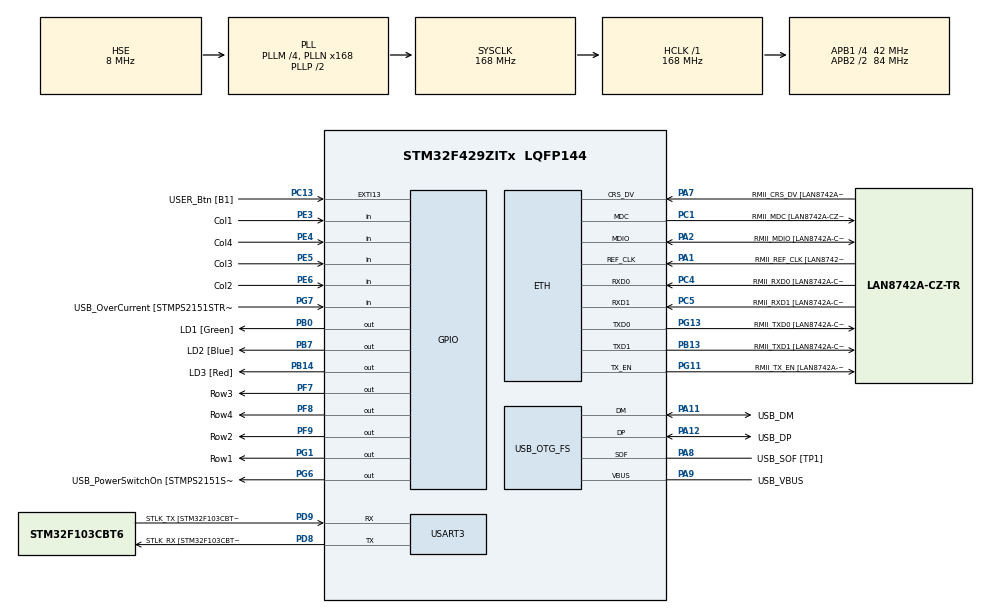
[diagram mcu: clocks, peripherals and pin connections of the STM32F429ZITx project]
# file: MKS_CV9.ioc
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ETH.MediaInterface=HAL_ETH_RMII_MODE
ETH.PHY_Name=LAN8742A_PHY_ADDRESS
ETH.PHY_Value=0
ETH.PhyAddress=0
Mcu.Family=STM32F4
Mcu.Name=STM32F429ZITx
Mcu.Package=LQFP144
NVIC.PriorityGroup=NVIC_PRIORITYGROUP_4
NVIC.TIM3_IRQn=true\:0\:0\:false\:false\:true\:true\:true\:true
PA1.GPIO_Label=RMII_REF_CLK [LAN8742A-CZ-TR_REFCLK0]
PA1.Mode=RMII
PA1.Signal=ETH_REF_CLK
PA10.GPIO_Label=USB_ID
PA10.Signal=USB_OTG_FS_ID
PA11.GPIO_Label=USB_DM
PA11.Mode=Device_Only
PA11.Signal=USB_OTG_FS_DM
PA12.GPIO_Label=USB_DP
PA12.Mode=Device_Only
PA12.Signal=USB_OTG_FS_DP
PA13.GPIO_Label=TMS
PA13.Mode=Serial_Wire
PA13.Signal=SYS_JTMS-SWDIO
PA14.GPIO_Label=TCK
PA14.Mode=Serial_Wire
PA14.Signal=SYS_JTCK-SWCLK
PA2.GPIO_Label=RMII_MDIO [LAN8742A-CZ-TR_MDIO]
PA2.Mode=RMII
PA2.Signal=ETH_MDIO
PA7.GPIO_Label=RMII_CRS_DV [LAN8742A-CZ-TR_CRS_DV]
PA7.Mode=RMII
PA7.Signal=ETH_CRS_DV
PA8.GPIO_Label=USB_SOF [TP1]
PA8.Mode=Activate_SOF_FS
PA8.Signal=USB_OTG_FS_SOF
PA9.GPIO_Label=USB_VBUS
PA9.Mode=Activate_VBUS
PA9.Signal=USB_OTG_FS_VBUS
PB0.GPIO_Label=LD1 [Green]
PB0.Signal=GPIO_Output
PB13.GPIO_Label=RMII_TXD1 [LAN8742A-CZ-TR_TXD1]
PB13.Mode=RMII
PB13.Signal=ETH_TXD1
PB14.GPIO_Label=LD3 [Red]
PB14.Signal=GPIO_Output
PB7.GPIO_Label=LD2 [Blue]
PB7.Signal=GPIO_Output
PC1.GPIO_Label=RMII_MDC [LAN8742A-CZ-TR_MDC]
PC1.Mode=RMII
PC1.Signal=ETH_MDC
PC13.GPIO_Label=USER_Btn [B1]
PC13.Signal=GPXTI13
PC14/OSC32_IN.Mode=LSE-External-Oscillator
PC14/OSC32_IN.Signal=RCC_OSC32_IN
PC15/OSC32_OUT.Mode=LSE-External-Oscillator
PC15/OSC32_OUT.Signal=RCC_OSC32_OUT
PC4.GPIO_Label=RMII_RXD0 [LAN8742A-CZ-TR_RXD0]
PC4.Mode=RMII
PC4.Signal=ETH_RXD0
PC5.GPIO_Label=RMII_RXD1 [LAN8742A-CZ-TR_RXD1]
PC5.Mode=RMII
PC5.Signal=ETH_RXD1
PD8.GPIO_Label=STLK_RX [STM32F103CBT6_PA3]
PD8.Mode=Asynchronous
PD8.Signal=USART3_TX
PD9.GPIO_Label=STLK_TX [STM32F103CBT6_PA2]
PD9.Mode=Asynchronous
PD9.Signal=USART3_RX
PE3.GPIO_Label=Col1
PE3.GPIO_PuPd=GPIO_PULLUP
PE3.Signal=GPIO_Input
PE4.GPIO_Label=Col4
PE4.GPIO_PuPd=GPIO_PULLUP
PE4.Signal=GPIO_Input
PE5.GPIO_Label=Col3
PE5.GPIO_PuPd=GPIO_PULLUP
PE5.Signal=GPIO_Input
PE6.GPIO_Label=Col2
PE6.GPIO_PuPd=GPIO_PULLUP
PE6.Signal=GPIO_Input
PF7.GPIO_Label=Row3
PF7.GPIO_ModeDefaultOutputPP=GPIO_MODE_OUTPUT_OD
PF7.GPIO_PuPd=GPIO_NOPULL
PF7.Signal=GPIO_Output
PF8.GPIO_Label=Row4
PF8.GPIO_ModeDefaultOutputPP=GPIO_MODE_OUTPUT_OD
PF8.GPIO_PuPd=GPIO_NOPULL
PF8.Signal=GPIO_Output
PF9.GPIO_Label=Row2
PF9.GPIO_ModeDefaultOutputPP=GPIO_MODE_OUTPUT_OD
PF9.GPIO_PuPd=GPIO_NOPULL
PF9.Signal=GPIO_Output
PG1.GPIO_Label=Row1
PG1.GPIO_ModeDefaultOutputPP=GPIO_MODE_OUTPUT_OD
PG1.GPIO_PuPd=GPIO_NOPULL
PG1.Signal=GPIO_Output
PG11.GPIO_Label=RMII_TX_EN [LAN8742A-CZ-TR_TXEN]
PG11.Mode=RMII
PG11.Signal=ETH_TX_EN
PG13.GPIO_Label=RMII_TXD0 [LAN8742A-CZ-TR_TXD0]
PG13.Mode=RMII
PG13.Signal=ETH_TXD0
PG6.GPIO_Label=USB_PowerSwitchOn [STMPS2151STR_EN]
PG6.Signal=GPIO_Output
PG7.GPIO_Label=USB_OverCurrent [STMPS2151STR_FAULT]
PG7.Signal=GPIO_Input
PH0/OSC_IN.GPIO_Label=MCO [STM32F103CBT6_PA8]
PH0/OSC_IN.Mode=HSE-External-Clock-Source
PH0/OSC_IN.Signal=RCC_OSC_IN
PH1/OSC_OUT.Mode=HSE-External-Clock-Source
PH1/OSC_OUT.Signal=RCC_OSC_OUT
ProjectManager.HeapSize=0x200
ProjectManager.StackSize=0x400
ProjectManager.TargetToolchain=STM32CubeIDE
RCC.48MHZClocksFreq_Value=48000000
RCC.AHBFreq_Value=168000000
RCC.APB1CLKDivider=RCC_HCLK_DIV4
RCC.APB1Freq_Value=42000000
RCC.APB1TimFreq_Value=84000000
RCC.APB2CLKDivider=RCC_HCLK_DIV2
RCC.APB2Freq_Value=84000000
RCC.APB2TimCLKDivider=2
RCC.APB2TimFreq_Value=168000000
RCC.CortexFreq_Value=168000000
RCC.HCLKFreq_Value=168000000
RCC.HSE_VALUE=8000000
RCC.HSI_VALUE=16000000
RCC.PLLM=4
RCC.PLLMUL=RCC_PLL_MUL9
RCC.PLLN=168
RCC.PLLQ=7
RCC.PRESCALERUSB=RCC_USBCLKSOURCE_PLL_DIV1_5
RCC.SYSCLKFreq_VALUE=168000000
RCC.SYSCLKSource=RCC_SYSCLKSOURCE_PLLCLK
RCC.SYSCLKSourceVirtual=RCC_SYSCLKSOURCE_PLLCLK
RCC.USBFreq_Value=48000000
RCC.VCOOutputFreq_Value=336000000
TIM3.AutoReloadPreload=TIM_AUTORELOAD_PRELOAD_ENABLE
TIM3.Period=99
TIM3.Prescaler=8399
USART3.VirtualMode=VM_ASYNC
USB_OTG_FS.VirtualMode=Device_Only
VP_TIM3_VS_ClockSourceINT.Mode=Internal
board=NUCLEO-F429ZI

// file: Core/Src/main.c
/* USER CODE BEGIN Header */
/**
 ******************************************************************************
 * @file           : main.c
 * @brief          : Main program body
 ******************************************************************************
 * @attention
 *
 * Copyright (c) 2022 STMicroelectronics.
 * All rights reserved.
 *
 * This software is licensed under terms that can be found in the LICENSE file
 * in the root directory of this software component.
 * If no LICENSE file comes with this software, it is provided AS-IS.
 *
 ******************************************************************************
 */
/* USER CODE END Header */
#include "main.h"
#include "string.h"

/* USER CODE BEGIN Includes */
#include <stdio.h>
/* USER CODE END Includes */

ETH_TxPacketConfig TxConfig;
ETH_DMADescTypeDef DMARxDscrTab[ETH_RX_DESC_CNT]; /* Ethernet Rx DMA Descriptors */
ETH_DMADescTypeDef DMATxDscrTab[ETH_TX_DESC_CNT]; /* Ethernet Tx DMA Descriptors */

ETH_HandleTypeDef heth;

TIM_HandleTypeDef htim3;

UART_HandleTypeDef huart3;

PCD_HandleTypeDef hpcd_USB_OTG_FS;

/* USER CODE BEGIN PV */
static volatile int8_t key = -1;
static volatile uint8_t tog;
static volatile uint8_t tog_active;
static volatile uint8_t check = 0;
static const int password[1][5] = { { 7, 9, 3, 2, 12 } };
static uint32_t timeout;
static uint8_t timeout_not_set;

/* USER CODE END PV */

void SystemClock_Config(void);
static void MX_GPIO_Init(void);
static void MX_ETH_Init(void);
static void MX_USART3_UART_Init(void);
static void MX_USB_OTG_FS_PCD_Init(void);
static void MX_TIM3_Init(void);

/* USER CODE BEGIN 0 */
int __io_putchar(int ch) {
	ITM_SendChar(ch);
	return 0;
}

void HAL_TIM_PeriodElapsedCallback(TIM_HandleTypeDef *htim) {

	static int row = 0;

	static const int keyboard[4][4] = { { 1, 2, 3, 21 }, { 4, 5, 6, 22 }, { 7,
			8, 9, 23 }, { 11, 0, 12, 24 }, };
	if (key == -1) {
		if (HAL_GPIO_ReadPin(Col1_GPIO_Port, Col1_Pin) == GPIO_PIN_RESET)
			key = keyboard[row][0];
		if (HAL_GPIO_ReadPin(Col2_GPIO_Port, Col2_Pin) == GPIO_PIN_RESET)
			key = keyboard[row][1];
		if (HAL_GPIO_ReadPin(Col3_GPIO_Port, Col3_Pin) == GPIO_PIN_RESET)
			key = keyboard[row][2];
		if (HAL_GPIO_ReadPin(Col4_GPIO_Port, Col4_Pin) == GPIO_PIN_RESET)
			key = keyboard[row][3];

	}
	HAL_GPIO_WritePin(Row1_GPIO_Port, Row1_Pin, GPIO_PIN_SET);
	HAL_GPIO_WritePin(Row2_GPIO_Port, Row2_Pin, GPIO_PIN_SET);
	HAL_GPIO_WritePin(Row3_GPIO_Port, Row3_Pin, GPIO_PIN_SET);
	HAL_GPIO_WritePin(Row4_GPIO_Port, Row4_Pin, GPIO_PIN_SET);
	switch (row) {
	case 0:
		row = 1;
		HAL_GPIO_WritePin(Row2_GPIO_Port, Row2_Pin, GPIO_PIN_RESET);
		break;
	case 1:
		row = 2;
		HAL_GPIO_WritePin(Row3_GPIO_Port, Row3_Pin, GPIO_PIN_RESET);
		break;
	case 2:
		row = 3;
		HAL_GPIO_WritePin(Row4_GPIO_Port, Row4_Pin, GPIO_PIN_RESET);
		break;
	case 3:
		row = 0;
		HAL_GPIO_WritePin(Row1_GPIO_Port, Row1_Pin, GPIO_PIN_RESET);
		break;

	}
}

/* USER CODE END 0 */

int main(void) {

	/* MCU Configuration--------------------------------------------------------*/

	/* Reset of all peripherals, Initializes the Flash interface and the Systick. */
	HAL_Init();

	/* Configure the system clock */
	SystemClock_Config();

	/* Initialize all configured peripherals */
	MX_GPIO_Init();
	MX_ETH_Init();
	MX_USART3_UART_Init();
	MX_USB_OTG_FS_PCD_Init();
	MX_TIM3_Init();
	/* USER CODE BEGIN 2 */
	HAL_TIM_Base_Start_IT(&htim3);
	printf("komunikace OK\n");

	/* USER CODE END 2 */

	/* Infinite loop */
	/* USER CODE BEGIN WHILE */
	while (1) {
		switch (check) {
			case 0:
				if (key == password[0][0]) {
					printf("prvni znak se shoduje\n");
					check = 1;
				}
				break;

			case 1:
				if (timeout_not_set == 0) {
					timeout = HAL_GetTick();
					timeout_not_set = 1;
				}

				if (HAL_GetTick() - timeout > 5000) {
					printf("cas vyprsel!\n");
					timeout_not_set = 0;
					check = 0;
				}

				if (key == password[0][1]) {
					printf("druhy znak se shoduje\n");
					timeout_not_set = 0;
					check = 2;
				} else if (key > -1 && key != password[0][1]) {
					timeout_not_set = 0;
					check = 0;
				}
				break;

			case 2:
				if (timeout_not_set == 0) {
					timeout = HAL_GetTick();
					timeout_not_set = 1;
				}

				if (HAL_GetTick() - timeout > 5000) {
					printf("cas vyprsel!\n");
					timeout_not_set = 0;
					check = 0;
				}

				if (key == password[0][2]) {
					printf("treti znak se shoduje\n");
					timeout_not_set = 0;
					check = 3;
				} else if (key > -1 && key != password[0][2]) {
					timeout_not_set = 0;
					check = 0;
				}
				break;

			case 3:
				if (timeout_not_set == 0) {
					timeout = HAL_GetTick();
					timeout_not_set = 1;
				}

				if (HAL_GetTick() - timeout > 5000) {
					printf("cas vyprsel!\n");
					timeout_not_set = 0;
					check = 0;
				}

				if (key == password[0][3]) {
					printf("ctvrty znak se shoduje\n");
					timeout_not_set = 0;
					check = 4;
				} else if (key > -1 && key != password[0][3]) {
					timeout_not_set = 0;
					check = 0;
				}
				break;

			case 4:
				if (timeout_not_set == 0) {
					timeout = HAL_GetTick();
					timeout_not_set = 1;
				}

				if (HAL_GetTick() - timeout > 5000) {
					printf("cas vyprsel!\n");
					timeout_not_set = 0;
					check = 0;
				}

				if (key == password[0][4]) {
					printf("paty znak se shoduje\n");
					//uvadeni LED do blikaciho stavu
					if(tog==0){
						tog_active = 0;
						tog = 1;
					}else{
						tog_active = 0;
						tog = 0;
					}

					timeout_not_set = 0;
					check = 0;
				} else if (key > -1 && key != password[0][4]) {
					timeout_not_set = 0;
					check = 0;
				}
				break;
		}

		/*if(key !=-1 && key = (21||22||23||24||11||12)){

			 if(key==21){
			 printf("stisknuta klavesa: A\n");

			 }
			 if(key==22){
			 printf("stisknuta klavesa: B\n");

			 }
			 if(key==23){
			 printf("stisknuta klavesa: C\n");

			 }
			 if(key==23){
			 printf("stisknuta klavesa: D\n");

			 }
			 if(key==11){
			 printf("stisknuta klavesa: *\n");

			 }
			 if(key==12){
			 printf("stisknuta klavesa: #\n");

			 }
		 }*/

		if (key != -1) {
			printf("stisknuta klavesa: %d\n", key);
			HAL_Delay(250);
			key = -1;
		}

		if (tog == 1) {
			HAL_GPIO_TogglePin(LD1_GPIO_Port, LD1_Pin);
		}
		HAL_Delay(250);

		/* USER CODE END WHILE */

	}
}

void SystemClock_Config(void) {
	RCC_OscInitTypeDef RCC_OscInitStruct = { 0 };
	RCC_ClkInitTypeDef RCC_ClkInitStruct = { 0 };

	/** Configure the main internal regulator output voltage
	 */
	__HAL_RCC_PWR_CLK_ENABLE();
	__HAL_PWR_VOLTAGESCALING_CONFIG(PWR_REGULATOR_VOLTAGE_SCALE1);

	/** Initializes the RCC Oscillators according to the specified parameters
	 * in the RCC_OscInitTypeDef structure.
	 */
	RCC_OscInitStruct.OscillatorType = RCC_OSCILLATORTYPE_HSE;
	RCC_OscInitStruct.HSEState = RCC_HSE_BYPASS;
	RCC_OscInitStruct.PLL.PLLState = RCC_PLL_ON;
	RCC_OscInitStruct.PLL.PLLSource = RCC_PLLSOURCE_HSE;
	RCC_OscInitStruct.PLL.PLLM = 4;
	RCC_OscInitStruct.PLL.PLLN = 168;
	RCC_OscInitStruct.PLL.PLLP = RCC_PLLP_DIV2;
	RCC_OscInitStruct.PLL.PLLQ = 7;
	if (HAL_RCC_OscConfig(&RCC_OscInitStruct) != HAL_OK) {
		Error_Handler();
	}

	/** Initializes the CPU, AHB and APB buses clocks
	 */
	RCC_ClkInitStruct.ClockType = RCC_CLOCKTYPE_HCLK | RCC_CLOCKTYPE_SYSCLK
			| RCC_CLOCKTYPE_PCLK1 | RCC_CLOCKTYPE_PCLK2;
	RCC_ClkInitStruct.SYSCLKSource = RCC_SYSCLKSOURCE_PLLCLK;
	RCC_ClkInitStruct.AHBCLKDivider = RCC_SYSCLK_DIV1;
	RCC_ClkInitStruct.APB1CLKDivider = RCC_HCLK_DIV4;
	RCC_ClkInitStruct.APB2CLKDivider = RCC_HCLK_DIV2;

	if (HAL_RCC_ClockConfig(&RCC_ClkInitStruct, FLASH_LATENCY_5) != HAL_OK) {
		Error_Handler();
	}
}

static void MX_ETH_Init(void) {

	static uint8_t MACAddr[6];

	heth.Instance = ETH;
	MACAddr[0] = 0x00;
	MACAddr[1] = 0x80;
	MACAddr[2] = 0xE1;
	MACAddr[3] = 0x00;
	MACAddr[4] = 0x00;
	MACAddr[5] = 0x00;
	heth.Init.MACAddr = &MACAddr[0];
	heth.Init.MediaInterface = HAL_ETH_RMII_MODE;
	heth.Init.TxDesc = DMATxDscrTab;
	heth.Init.RxDesc = DMARxDscrTab;
	heth.Init.RxBuffLen = 1524;

	if (HAL_ETH_Init(&heth) != HAL_OK) {
		Error_Handler();
	}

	memset(&TxConfig, 0, sizeof(ETH_TxPacketConfig));
	TxConfig.Attributes = ETH_TX_PACKETS_FEATURES_CSUM
			| ETH_TX_PACKETS_FEATURES_CRCPAD;
	TxConfig.ChecksumCtrl = ETH_CHECKSUM_IPHDR_PAYLOAD_INSERT_PHDR_CALC;
	TxConfig.CRCPadCtrl = ETH_CRC_PAD_INSERT;

}

static void MX_TIM3_Init(void) {

	TIM_ClockConfigTypeDef sClockSourceConfig = { 0 };
	TIM_MasterConfigTypeDef sMasterConfig = { 0 };

	htim3.Instance = TIM3;
	htim3.Init.Prescaler = 8399;
	htim3.Init.CounterMode = TIM_COUNTERMODE_UP;
	htim3.Init.Period = 99;
	htim3.Init.ClockDivision = TIM_CLOCKDIVISION_DIV1;
	htim3.Init.AutoReloadPreload = TIM_AUTORELOAD_PRELOAD_ENABLE;
	if (HAL_TIM_Base_Init(&htim3) != HAL_OK) {
		Error_Handler();
	}
	sClockSourceConfig.ClockSource = TIM_CLOCKSOURCE_INTERNAL;
	if (HAL_TIM_ConfigClockSource(&htim3, &sClockSourceConfig) != HAL_OK) {
		Error_Handler();
	}
	sMasterConfig.MasterOutputTrigger = TIM_TRGO_RESET;
	sMasterConfig.MasterSlaveMode = TIM_MASTERSLAVEMODE_DISABLE;
	if (HAL_TIMEx_MasterConfigSynchronization(&htim3, &sMasterConfig)
			!= HAL_OK) {
		Error_Handler();
	}

}

static void MX_USART3_UART_Init(void) {

	huart3.Instance = USART3;
	huart3.Init.BaudRate = 115200;
	huart3.Init.WordLength = UART_WORDLENGTH_8B;
	huart3.Init.StopBits = UART_STOPBITS_1;
	huart3.Init.Parity = UART_PARITY_NONE;
	huart3.Init.Mode = UART_MODE_TX_RX;
	huart3.Init.HwFlowCtl = UART_HWCONTROL_NONE;
	huart3.Init.OverSampling = UART_OVERSAMPLING_16;
	if (HAL_UART_Init(&huart3) != HAL_OK) {
		Error_Handler();
	}

}

static void MX_USB_OTG_FS_PCD_Init(void) {

	hpcd_USB_OTG_FS.Instance = USB_OTG_FS;
	hpcd_USB_OTG_FS.Init.dev_endpoints = 4;
	hpcd_USB_OTG_FS.Init.speed = PCD_SPEED_FULL;
	hpcd_USB_OTG_FS.Init.dma_enable = DISABLE;
	hpcd_USB_OTG_FS.Init.phy_itface = PCD_PHY_EMBEDDED;
	hpcd_USB_OTG_FS.Init.Sof_enable = ENABLE;
	hpcd_USB_OTG_FS.Init.low_power_enable = DISABLE;
	hpcd_USB_OTG_FS.Init.lpm_enable = DISABLE;
	hpcd_USB_OTG_FS.Init.vbus_sensing_enable = ENABLE;
	hpcd_USB_OTG_FS.Init.use_dedicated_ep1 = DISABLE;
	if (HAL_PCD_Init(&hpcd_USB_OTG_FS) != HAL_OK) {
		Error_Handler();
	}

}

static void MX_GPIO_Init(void) {
	GPIO_InitTypeDef GPIO_InitStruct = { 0 };

	/* GPIO Ports Clock Enable */
	__HAL_RCC_GPIOE_CLK_ENABLE();
	__HAL_RCC_GPIOC_CLK_ENABLE();
	__HAL_RCC_GPIOF_CLK_ENABLE();
	__HAL_RCC_GPIOH_CLK_ENABLE();
	__HAL_RCC_GPIOA_CLK_ENABLE();
	__HAL_RCC_GPIOB_CLK_ENABLE();
	__HAL_RCC_GPIOG_CLK_ENABLE();
	__HAL_RCC_GPIOD_CLK_ENABLE();

	/*Configure GPIO pin Output Level */
	HAL_GPIO_WritePin(GPIOF, Row3_Pin | Row4_Pin | Row2_Pin, GPIO_PIN_RESET);

	/*Configure GPIO pin Output Level */
	HAL_GPIO_WritePin(GPIOB, LD1_Pin | LD3_Pin | LD2_Pin, GPIO_PIN_RESET);

	/*Configure GPIO pin Output Level */
	HAL_GPIO_WritePin(GPIOG, Row1_Pin | USB_PowerSwitchOn_Pin, GPIO_PIN_RESET);

	/*Configure GPIO pins : Col1_Pin Col4_Pin Col3_Pin Col2_Pin */
	GPIO_InitStruct.Pin = Col1_Pin | Col4_Pin | Col3_Pin | Col2_Pin;
	GPIO_InitStruct.Mode = GPIO_MODE_INPUT;
	GPIO_InitStruct.Pull = GPIO_PULLUP;
	HAL_GPIO_Init(GPIOE, &GPIO_InitStruct);

	/*Configure GPIO pin : USER_Btn_Pin */
	GPIO_InitStruct.Pin = USER_Btn_Pin;
	GPIO_InitStruct.Mode = GPIO_MODE_IT_RISING;
	GPIO_InitStruct.Pull = GPIO_NOPULL;
	HAL_GPIO_Init(USER_Btn_GPIO_Port, &GPIO_InitStruct);

	/*Configure GPIO pins : Row3_Pin Row4_Pin Row2_Pin */
	GPIO_InitStruct.Pin = Row3_Pin | Row4_Pin | Row2_Pin;
	GPIO_InitStruct.Mode = GPIO_MODE_OUTPUT_OD;
	GPIO_InitStruct.Pull = GPIO_NOPULL;
	GPIO_InitStruct.Speed = GPIO_SPEED_FREQ_LOW;
	HAL_GPIO_Init(GPIOF, &GPIO_InitStruct);

	/*Configure GPIO pins : LD1_Pin LD3_Pin LD2_Pin */
	GPIO_InitStruct.Pin = LD1_Pin | LD3_Pin | LD2_Pin;
	GPIO_InitStruct.Mode = GPIO_MODE_OUTPUT_PP;
	GPIO_InitStruct.Pull = GPIO_NOPULL;
	GPIO_InitStruct.Speed = GPIO_SPEED_FREQ_LOW;
	HAL_GPIO_Init(GPIOB, &GPIO_InitStruct);

	/*Configure GPIO pin : Row1_Pin */
	GPIO_InitStruct.Pin = Row1_Pin;
	GPIO_InitStruct.Mode = GPIO_MODE_OUTPUT_OD;
	GPIO_InitStruct.Pull = GPIO_NOPULL;
	GPIO_InitStruct.Speed = GPIO_SPEED_FREQ_LOW;
	HAL_GPIO_Init(Row1_GPIO_Port, &GPIO_InitStruct);

	/*Configure GPIO pin : USB_PowerSwitchOn_Pin */
	GPIO_InitStruct.Pin = USB_PowerSwitchOn_Pin;
	GPIO_InitStruct.Mode = GPIO_MODE_OUTPUT_PP;
	GPIO_InitStruct.Pull = GPIO_NOPULL;
	GPIO_InitStruct.Speed = GPIO_SPEED_FREQ_LOW;
	HAL_GPIO_Init(USB_PowerSwitchOn_GPIO_Port, &GPIO_InitStruct);

	/*Configure GPIO pin : USB_OverCurrent_Pin */
	GPIO_InitStruct.Pin = USB_OverCurrent_Pin;
	GPIO_InitStruct.Mode = GPIO_MODE_INPUT;
	GPIO_InitStruct.Pull = GPIO_NOPULL;
	HAL_GPIO_Init(USB_OverCurrent_GPIO_Port, &GPIO_InitStruct);

}

void Error_Handler(void) {
	__disable_irq();
	while (1) {
	}
}
